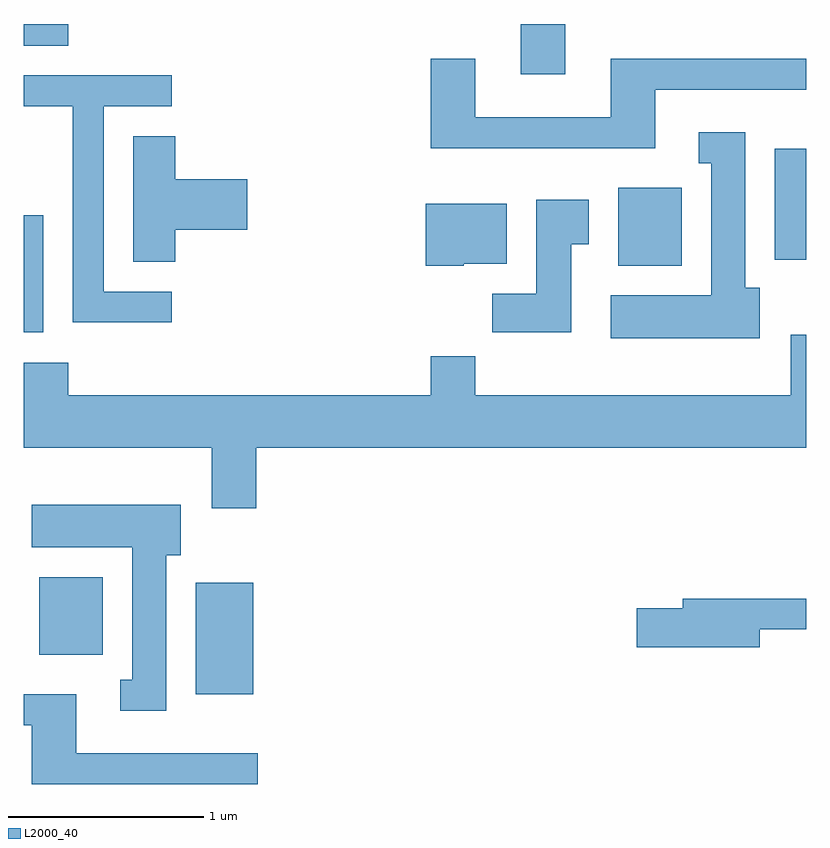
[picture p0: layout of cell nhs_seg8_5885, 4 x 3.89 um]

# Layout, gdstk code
import gdstk
lib = gdstk.Library(unit=1e-6, precision=1e-09)
def R(c, l, rs):  # rectangles x0, y0, x1, y1
    for r in rs: c.add(gdstk.rectangle(r[:2], r[2:], *l))
def P(c, l, *ps):  # polygons
    for p in ps: c.add(gdstk.Polygon(p, *l))
L2000_40 = (2000, 40)

nhs_seg8_5885 = lib.new_cell('nhs_seg8_5885')
R(nhs_seg8_5885, L2000_40, [(362.491,1852.916,362.784,1853.484), (361.691,1853.116,362.014,1853.514), (361.611,1854.766,361.709,1855.364), (364.651,1855.106,364.974,1855.504), (365.451,1855.136,365.611,1855.704), (364.151,1856.086,364.379,1856.342), (361.611,1856.231,361.839,1856.342)])
P(nhs_seg8_5885, L2000_40, [(364.839,1856.006),(365.611,1856.006),(365.611,1856.164),(364.611,1856.164),(364.611,1855.864),(363.919,1855.864),(363.919,1856.164),(363.691,1856.164),(363.691,1855.706),(364.839,1855.706)],
  [(362.368,1854.974),(362.019,1854.974),(362.019,1855.921),(362.368,1855.921),(362.368,1856.079),(361.611,1856.079),(361.611,1855.921),(361.861,1855.921),(361.861,1854.816),(362.368,1854.816)],
  [(365.374,1854.994),(365.299,1854.994),(365.299,1855.789),(365.063,1855.789),(365.063,1855.631),(365.126,1855.631),(365.126,1854.954),(364.611,1854.954),(364.611,1854.736),(365.374,1854.736)],
  [(362.384,1855.291),(362.754,1855.291),(362.754,1855.549),(362.384,1855.549),(362.384,1855.769),(362.171,1855.769),(362.171,1855.126),(362.384,1855.126)],
  [(364.409,1855.216),(364.499,1855.216),(364.499,1855.444),(364.231,1855.444),(364.231,1854.964),(364.006,1854.964),(364.006,1854.766),(364.409,1854.766)],
  [(363.86,1855.116),(364.079,1855.116),(364.079,1855.424),(363.666,1855.424),(363.666,1855.106),(363.86,1855.106)],
  [(365.611,1854.754),(365.531,1854.754),(365.531,1854.444),(363.919,1854.444),(363.919,1854.644),(363.691,1854.644),(363.691,1854.444),(361.839,1854.444),(361.839,1854.609),(361.611,1854.609),(361.611,1854.176),(362.571,1854.176),(362.571,1853.866),(362.799,1853.866),(362.799,1854.176),(365.611,1854.176)],
  [(362.339,1853.626),(362.414,1853.626),(362.414,1853.884),(361.651,1853.884),(361.651,1853.666),(362.166,1853.666),(362.166,1852.989),(362.103,1852.989),(362.103,1852.831),(362.339,1852.831)],
  [(365.374,1853.246),(365.611,1853.246),(365.611,1853.404),(364.981,1853.404),(364.981,1853.354),(364.746,1853.354),(364.746,1853.156),(365.374,1853.156)],
  [(362.808,1852.614),(361.879,1852.614),(361.879,1852.914),(361.611,1852.914),(361.611,1852.756),(361.651,1852.756),(361.651,1852.456),(362.808,1852.456)])

lib.write_gds('nhs_seg8_5885.gds')
